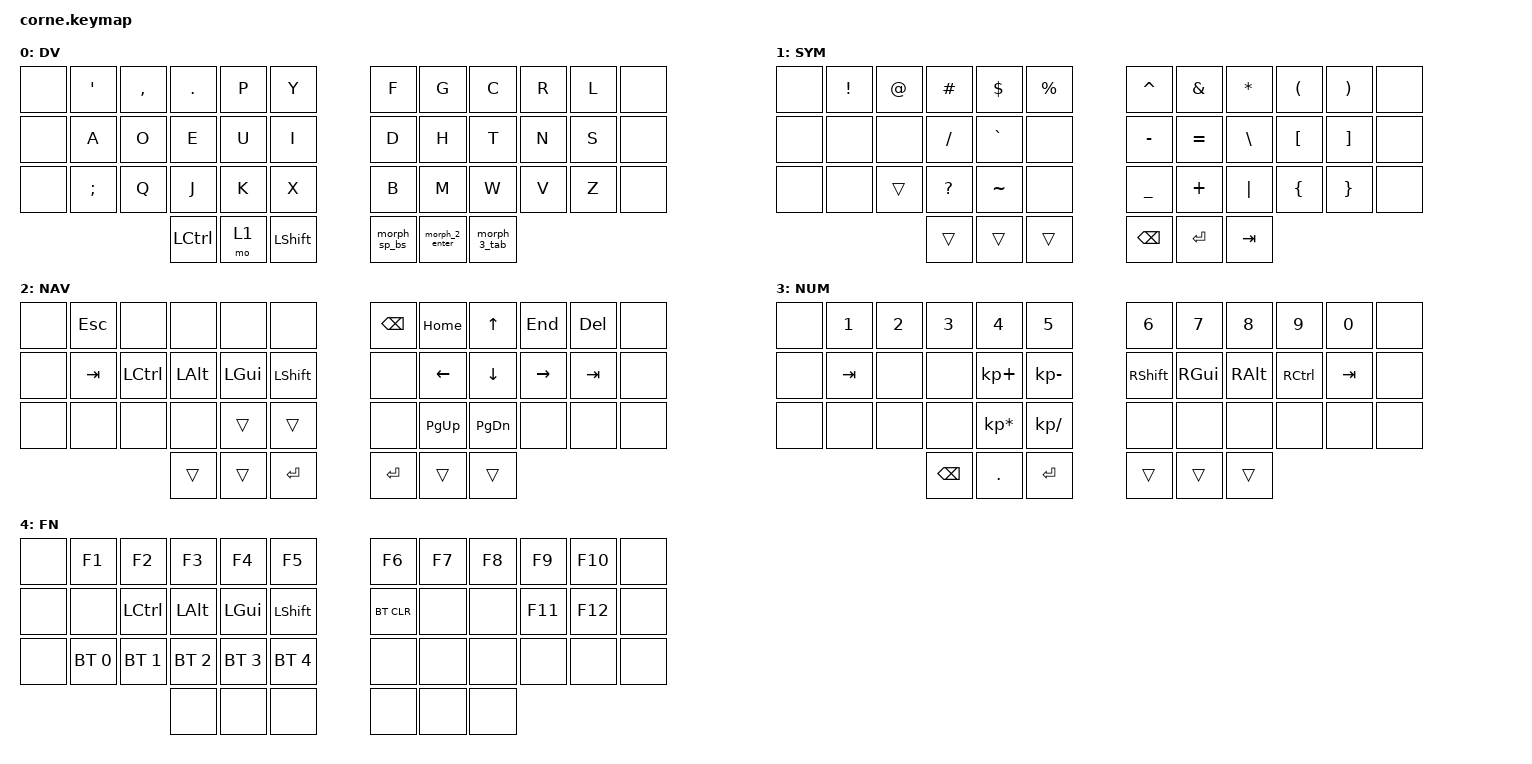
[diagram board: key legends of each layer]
/*
 * Copyright (c) 2020 The ZMK Contributors
 *
 * SPDX-License-Identifier: MIT
 */

#include <behaviors.dtsi>
#include <dt-bindings/zmk/bt.h>
#include <dt-bindings/zmk/keys.h>

/ {
    combos {
        compatible = "zmk,combos";

        left_fn_combo {
            bindings = <&kp LEFT_GUI>;
            key-positions = <36 37>;
        };

        right_fn_combo {
            bindings = <&mo 4>;
            key-positions = <41 40>;
        };
    };

    behaviors {
        morph_sp_bs: morph_sp_bs {
            compatible = "zmk,behavior-mod-morph";
            label = "MORPH_SP_BS";
            bindings = <&kp SPACE>, <&kp BACKSPACE>;

            #binding-cells = <0>;
            mods = <(MOD_LSFT)>;
        };

        morph_2_enter: morph_2_enter {
            compatible = "zmk,behavior-mod-morph";
            label = "MORPH_2_ENTER";
            bindings = <&mo 2>, <&kp ENTER>;

            #binding-cells = <0>;
            mods = <(MOD_LSFT)>;
        };

        morph_3_tab: morph_3_tab {
            compatible = "zmk,behavior-mod-morph";
            label = "MORPH_3_TAB";
            bindings = <&mo 3>, <&kp TAB>;

            #binding-cells = <0>;
            mods = <(MOD_LSFT)>;
        };
    };

    keymap {
        compatible = "zmk,keymap";

        dvorak {
            bindings = <
&none  &kp SINGLE_QUOTE  &kp COMMA  &kp PERIOD  &kp P  &kp Y             &kp F         &kp G           &kp C         &kp R  &kp L  &none
&none  &kp A             &kp O      &kp E       &kp U  &kp I             &kp D         &kp H           &kp T         &kp N  &kp S  &none
&none  &kp SEMICOLON     &kp Q      &kp J       &kp K  &kp X             &kp B         &kp M           &kp W         &kp V  &kp Z  &none
                                    &kp LCTRL   &mo 1  &kp LEFT_SHIFT    &morph_sp_bs  &morph_2_enter  &morph_3_tab
            >;

            label = "DV";
        };

        symbol {
            bindings = <
&none  &kp EXCL  &kp AT  &kp HASH      &kp DLLR   &kp PRCNT    &kp CARET      &kp AMPS   &kp ASTRK  &kp LPAR        &kp RPAR         &none
&none  &none     &none   &kp FSLH      &kp GRAVE  &none        &kp MINUS      &kp EQUAL  &kp BSLH   &kp LBKT        &kp RBKT         &none
&none  &none     &trans  &kp QUESTION  &kp TILDE  &none        &kp UNDER      &kp PLUS   &kp PIPE   &kp LEFT_BRACE  &kp RIGHT_BRACE  &none
                         &trans        &trans     &trans       &kp BACKSPACE  &kp ENTER  &kp TAB
            >;

            label = "SYM";
        };

        navigation {
            label = "NAV";
            bindings = <
&none  &kp ESCAPE  &none      &none     &none     &none         &kp BACKSPACE  &kp HOME   &kp UP_ARROW  &kp END    &kp DELETE  &none
&none  &kp TAB     &kp LCTRL  &kp LALT  &kp LGUI  &kp LSHIFT    &none          &kp LEFT   &kp DOWN      &kp RIGHT  &kp TAB     &none
&none  &none       &none      &none     &trans    &trans        &none          &kp PG_UP  &kp PG_DN     &none      &none       &none
                              &trans    &trans    &kp ENTER     &kp ENTER      &trans     &trans
            >;
        };

        number {
            bindings = <
&none  &kp N1   &kp N2  &kp N3         &kp N4           &kp N5           &kp N6      &kp N7    &kp N8    &kp N9     &kp N0   &none
&none  &kp TAB  &none   &none          &kp KP_PLUS      &kp KP_MINUS     &kp RSHIFT  &kp RGUI  &kp RALT  &kp RCTRL  &kp TAB  &none
&none  &none    &none   &none          &kp KP_MULTIPLY  &kp KP_DIVIDE    &none       &none     &none     &none      &none    &none
                        &kp BACKSPACE  &kp DOT          &kp ENTER        &trans      &trans    &trans
            >;

            label = "NUM";
        };

        function {
            bindings = <
&none  &kp F1        &kp F2        &kp F3        &kp F4        &kp F5          &kp F6      &kp F7  &kp F8  &kp F9   &kp F10  &none
&none  &none         &kp LCTRL     &kp LALT      &kp LGUI      &kp LSHFT       &bt BT_CLR  &none   &none   &kp F11  &kp F12  &none
&none  &bt BT_SEL 0  &bt BT_SEL 1  &bt BT_SEL 2  &bt BT_SEL 3  &bt BT_SEL 4    &none       &none   &none   &none    &none    &none
                                   &none         &none         &none           &none       &none   &none
            >;

            label = "FN";
        };
    };

    conditional_layers { compatible = "zmk,conditional-layers"; };
};
